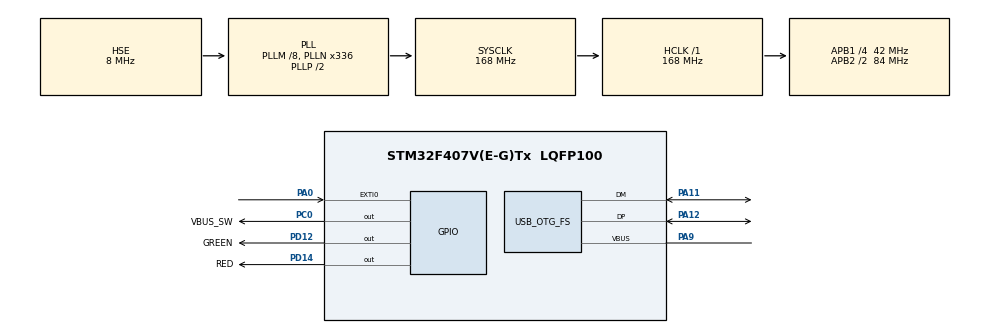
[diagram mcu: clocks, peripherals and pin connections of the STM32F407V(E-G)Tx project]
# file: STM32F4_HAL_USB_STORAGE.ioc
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FATFS._MAX_SS=512
FATFS._USE_LFN=0
Mcu.Family=STM32F4
Mcu.Name=STM32F407V(E-G)Tx
Mcu.Package=LQFP100
NVIC.EXTI0_IRQn=true\:0\:0\:false\:false\:true\:true
NVIC.OTG_FS_IRQn=true\:0\:0\:false\:false\:true\:true
NVIC.PriorityGroup=NVIC_PRIORITYGROUP_0
PA0-WKUP.Signal=GPXTI0
PA11.Mode=Host_Only
PA11.Signal=USB_OTG_FS_DM
PA12.Mode=Host_Only
PA12.Signal=USB_OTG_FS_DP
PA9.Mode=Activate_VBUS
PA9.Signal=USB_OTG_FS_VBUS
PC0.GPIO_Label=VBUS_SW
PC0.GPIO_ModeDefaultOutputPP=GPIO_MODE_OUTPUT_OD
PC0.GPIO_PuPd=GPIO_NOPULL
PC0.Signal=GPIO_Output
PD12.GPIO_Label=GREEN
PD12.Signal=GPIO_Output
PD14.GPIO_Label=RED
PD14.Signal=GPIO_Output
PH0-OSC_IN.Mode=HSE-External-Oscillator
PH0-OSC_IN.Signal=RCC_OSC_IN
PH1-OSC_OUT.Mode=HSE-External-Oscillator
PH1-OSC_OUT.Signal=RCC_OSC_OUT
ProjectManager.HeapSize=0x200
ProjectManager.StackSize=0x800
ProjectManager.TargetToolchain=TrueSTUDIO
RCC.48MHZClocksFreq_Value=48000000
RCC.AHBFreq_Value=168000000
RCC.APB1CLKDivider=RCC_HCLK_DIV4
RCC.APB1Freq_Value=42000000
RCC.APB1TimFreq_Value=84000000
RCC.APB2CLKDivider=RCC_HCLK_DIV2
RCC.APB2Freq_Value=84000000
RCC.APB2TimFreq_Value=168000000
RCC.CortexFreq_Value=168000000
RCC.HCLKFreq_Value=168000000
RCC.HSE_VALUE=8000000
RCC.HSI_VALUE=16000000
RCC.LSE_VALUE=32768
RCC.PLLM=8
RCC.PLLN=336
RCC.PLLQ=7
RCC.SYSCLKFreq_VALUE=168000000
RCC.SYSCLKSource=RCC_SYSCLKSOURCE_PLLCLK
RCC.VCOOutputFreq_Value=336000000
USB_HOST.USBH_HandleTypeDef-MSC_FS=hUsbHostFS
USB_HOST.VirtualModeFS=Msc
USB_OTG_FS.VirtualMode=Host_Only
USB_OTG_FS.phy_itface=HCD_PHY_EMBEDDED
VP_FATFS_VS_USB.Mode=USB
VP_USB_HOST_VS_USB_HOST_MSC_FS.Mode=MSC_FS
board=STM32F4DISCOVERY

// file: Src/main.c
/**
 ******************************************************************************
 * @file           : main.c
 * @brief          : Main program body
 ******************************************************************************
 * This notice applies to any and all portions of this file
 * that are not between comment pairs USER CODE BEGIN and
 * USER CODE END. Other portions of this file, whether
 * inserted by the user or by software development tools
 * are owned by their respective copyright owners.
 *
 * Copyright (c) 2019 STMicroelectronics International N.V.
 * All rights reserved.
 *
 * Redistribution and use in source and binary forms, with or without
 * modification, are permitted, provided that the following conditions are met:
 *
 * 1. Redistribution of source code must retain the above copyright notice,
 *    this list of conditions and the following disclaimer.
 * 2. Redistributions in binary form must reproduce the above copyright notice,
 *    this list of conditions and the following disclaimer in the documentation
 *    and/or other materials provided with the distribution.
 * 3. Neither the name of STMicroelectronics nor the names of other
 *    contributors to this software may be used to endorse or promote products
 *    derived from this software without specific written permission.
 * 4. This software, including modifications and/or derivative works of this
 *    software, must execute solely and exclusively on microcontroller or
 *    microprocessor devices manufactured by or for STMicroelectronics.
 * 5. Redistribution and use of this software other than as permitted under
 *    this license is void and will automatically terminate your rights under
 *    this license.
 *
 * THIS SOFTWARE IS PROVIDED BY STMICROELECTRONICS AND CONTRIBUTORS "AS IS"
 * AND ANY EXPRESS, IMPLIED OR STATUTORY WARRANTIES, INCLUDING, BUT NOT
 * LIMITED TO, THE IMPLIED WARRANTIES OF MERCHANTABILITY, FITNESS FOR A
 * PARTICULAR PURPOSE AND NON-INFRINGEMENT OF THIRD PARTY INTELLECTUAL PROPERTY
 * RIGHTS ARE DISCLAIMED TO THE FULLEST EXTENT PERMITTED BY LAW. IN NO EVENT
 * SHALL STMICROELECTRONICS OR CONTRIBUTORS BE LIABLE FOR ANY DIRECT, INDIRECT,
 * INCIDENTAL, SPECIAL, EXEMPLARY, OR CONSEQUENTIAL DAMAGES (INCLUDING, BUT NOT
 * LIMITED TO, PROCUREMENT OF SUBSTITUTE GOODS OR SERVICES; LOSS OF USE, DATA,
 * OR PROFITS; OR BUSINESS INTERRUPTION) HOWEVER CAUSED AND ON ANY THEORY OF
 * LIABILITY, WHETHER IN CONTRACT, STRICT LIABILITY, OR TORT (INCLUDING
 * NEGLIGENCE OR OTHERWISE) ARISING IN ANY WAY OUT OF THE USE OF THIS SOFTWARE,
 * EVEN IF ADVISED OF THE POSSIBILITY OF SUCH DAMAGE.
 *
 ******************************************************************************
 */
#include "main.h"
#include "stm32f4xx_hal.h"
#include "fatfs.h"
#include "usb_host.h"

/* USER CODE BEGIN PV */
/* Private variables ---------------------------------------------------------*/
extern char USBHPath[4];   /* USBH logical drive path */
extern FATFS USBHFatFS;    /* File system object for USBH logical drive */
extern FIL USBHFile;       /* File object for USBH */
extern ApplicationTypeDef Appli_state;

#define BUFF_LEN	256
uint8_t buttonFlag = 0;
uint8_t buffer[BUFF_LEN];
uint32_t bytesWritten, bytesRead;

/* USER CODE END PV */

void SystemClock_Config(void);
static void MX_GPIO_Init(void);
void MX_USB_HOST_Process(void);

/* USER CODE BEGIN PFP */
/* Private function prototypes -----------------------------------------------*/

/* USER CODE END PFP */

/* USER CODE BEGIN 0 */
void HAL_GPIO_EXTI_Callback(uint16_t GPIO_Pin)
{
	static uint32_t debounce = 0;
	static uint32_t now = 0;

	if(GPIO_Pin == GPIO_PIN_0)
	{
		now = HAL_GetTick();
		if(now - debounce < 200) return;

		debounce = HAL_GetTick();
		buttonFlag = 1;
	}
}

void MountUSB(void)
{
	FRESULT res = f_mount(&USBHFatFS, USBHPath, 0);
	if(res != FR_OK) Error_Handler();

	HAL_GPIO_WritePin(GPIOD, GPIO_PIN_12, GPIO_PIN_SET);
	HAL_GPIO_WritePin(GPIOD, GPIO_PIN_14, GPIO_PIN_RESET);
}

void UnMountUSB(void)
{
	FRESULT res = f_mount(NULL, "", 0);
	if(res != FR_OK) Error_Handler();

	HAL_GPIO_WritePin(GPIOD, GPIO_PIN_12, GPIO_PIN_RESET);
	HAL_GPIO_WritePin(GPIOD, GPIO_PIN_14, GPIO_PIN_SET);
}

void OpenFile()
{
	FRESULT res = f_open(&USBHFile, "hello.txt", FA_OPEN_ALWAYS | FA_READ | FA_WRITE);
	if(res != FR_OK) Error_Handler();
}

void CloseFile()
{
	FRESULT res = f_close(&USBHFile);
	if(res != FR_OK) Error_Handler();
}

uint32_t ReadFile(uint8_t *buff, uint16_t len)
{
	memset(buff, 0, len);
	FRESULT res = f_read(&USBHFile, buff, len, (void*)&bytesRead);
	if(res != FR_OK) Error_Handler();

	return bytesRead;
}

uint32_t WriteFile(uint8_t *buff, uint16_t len)
{
	FRESULT res;
	res = f_lseek(&USBHFile, f_size(&USBHFile));
	if(res != FR_OK) Error_Handler();

	res = f_write(&USBHFile, buff, len, (void*)&bytesWritten);
	if(res != FR_OK) Error_Handler();

	return bytesWritten;
}

void TruncateFile()
{
	FRESULT res;
	res = f_open(&USBHFile, "hello.txt", FA_OPEN_ALWAYS | FA_READ | FA_WRITE);
	if(res != FR_OK) Error_Handler();

	res = f_lseek(&USBHFile, 0);
	if(res != FR_OK) Error_Handler();

	res = f_truncate(&USBHFile);
	if(res != FR_OK) Error_Handler();

	res = f_close(&USBHFile);
	if(res != FR_OK) Error_Handler();
}

/* USER CODE END 0 */

int main(void)
{

	/* MCU Configuration----------------------------------------------------------*/

	/* Reset of all peripherals, Initializes the Flash interface and the Systick. */
	HAL_Init();

	/* Configure the system clock */
	SystemClock_Config();

	/* Initialize all configured peripherals */
	MX_GPIO_Init();
	MX_USB_HOST_Init();
	MX_FATFS_Init();

	/* Infinite loop */
	while (1)
	{
		MX_USB_HOST_Process();

		/* USER CODE BEGIN 3 */
		if(Appli_state == APPLICATION_READY && buttonFlag)
		{
			buttonFlag = 0;

			OpenFile();
			char *msg = "Hello! STM32 Mass Storage Testing...\r\n";
			uint32_t nWritten = WriteFile((uint8_t*)msg, strlen(msg));
			printf("%lu bytes written\r\n", nWritten);
			CloseFile();

			OpenFile();
			uint32_t nRead = ReadFile(buffer, BUFF_LEN);
			printf("%lu bytes read\r\n", nRead);
			CloseFile();

			printf("%s", buffer);
			fflush(stdout);

			if(nRead >=  BUFF_LEN)
			{
				TruncateFile();
			}
		}
	}
	/* USER CODE END 3 */

}

void SystemClock_Config(void)
{

	RCC_OscInitTypeDef RCC_OscInitStruct;
	RCC_ClkInitTypeDef RCC_ClkInitStruct;

	/**Configure the main internal regulator output voltage
	 */
	__HAL_RCC_PWR_CLK_ENABLE();

	__HAL_PWR_VOLTAGESCALING_CONFIG(PWR_REGULATOR_VOLTAGE_SCALE1);

	/**Initializes the CPU, AHB and APB busses clocks
	 */
	RCC_OscInitStruct.OscillatorType = RCC_OSCILLATORTYPE_HSE;
	RCC_OscInitStruct.HSEState = RCC_HSE_ON;
	RCC_OscInitStruct.PLL.PLLState = RCC_PLL_ON;
	RCC_OscInitStruct.PLL.PLLSource = RCC_PLLSOURCE_HSE;
	RCC_OscInitStruct.PLL.PLLM = 8;
	RCC_OscInitStruct.PLL.PLLN = 336;
	RCC_OscInitStruct.PLL.PLLP = RCC_PLLP_DIV2;
	RCC_OscInitStruct.PLL.PLLQ = 7;
	if (HAL_RCC_OscConfig(&RCC_OscInitStruct) != HAL_OK)
	{
		_Error_Handler(__FILE__, __LINE__);
	}

	/**Initializes the CPU, AHB and APB busses clocks
	 */
	RCC_ClkInitStruct.ClockType = RCC_CLOCKTYPE_HCLK|RCC_CLOCKTYPE_SYSCLK
			|RCC_CLOCKTYPE_PCLK1|RCC_CLOCKTYPE_PCLK2;
	RCC_ClkInitStruct.SYSCLKSource = RCC_SYSCLKSOURCE_PLLCLK;
	RCC_ClkInitStruct.AHBCLKDivider = RCC_SYSCLK_DIV1;
	RCC_ClkInitStruct.APB1CLKDivider = RCC_HCLK_DIV4;
	RCC_ClkInitStruct.APB2CLKDivider = RCC_HCLK_DIV2;

	if (HAL_RCC_ClockConfig(&RCC_ClkInitStruct, FLASH_LATENCY_5) != HAL_OK)
	{
		_Error_Handler(__FILE__, __LINE__);
	}

	/**Configure the Systick interrupt time
	 */
	HAL_SYSTICK_Config(HAL_RCC_GetHCLKFreq()/1000);

	/**Configure the Systick
	 */
	HAL_SYSTICK_CLKSourceConfig(SYSTICK_CLKSOURCE_HCLK);

	/* SysTick_IRQn interrupt configuration */
	HAL_NVIC_SetPriority(SysTick_IRQn, 0, 0);
}

/** Configure pins as
 * Analog
 * Input
 * Output
 * EVENT_OUT
 * EXTI
 */
static void MX_GPIO_Init(void)
{

	GPIO_InitTypeDef GPIO_InitStruct;

	/* GPIO Ports Clock Enable */
	__HAL_RCC_GPIOH_CLK_ENABLE();
	__HAL_RCC_GPIOC_CLK_ENABLE();
	__HAL_RCC_GPIOA_CLK_ENABLE();
	__HAL_RCC_GPIOD_CLK_ENABLE();

	/*Configure GPIO pin Output Level */
	HAL_GPIO_WritePin(VBUS_SW_GPIO_Port, VBUS_SW_Pin, GPIO_PIN_RESET);

	/*Configure GPIO pin Output Level */
	HAL_GPIO_WritePin(GPIOD, GPIO_PIN_12|GPIO_PIN_14, GPIO_PIN_RESET);

	/*Configure GPIO pin : VBUS_SW_Pin */
	GPIO_InitStruct.Pin = VBUS_SW_Pin;
	GPIO_InitStruct.Mode = GPIO_MODE_OUTPUT_OD;
	GPIO_InitStruct.Pull = GPIO_NOPULL;
	GPIO_InitStruct.Speed = GPIO_SPEED_FREQ_LOW;
	HAL_GPIO_Init(VBUS_SW_GPIO_Port, &GPIO_InitStruct);

	/*Configure GPIO pin : PA0 */
	GPIO_InitStruct.Pin = GPIO_PIN_0;
	GPIO_InitStruct.Mode = GPIO_MODE_IT_RISING;
	GPIO_InitStruct.Pull = GPIO_NOPULL;
	HAL_GPIO_Init(GPIOA, &GPIO_InitStruct);

	/*Configure GPIO pins : PD12 PD14 */
	GPIO_InitStruct.Pin = GPIO_PIN_12|GPIO_PIN_14;
	GPIO_InitStruct.Mode = GPIO_MODE_OUTPUT_PP;
	GPIO_InitStruct.Pull = GPIO_NOPULL;
	GPIO_InitStruct.Speed = GPIO_SPEED_FREQ_LOW;
	HAL_GPIO_Init(GPIOD, &GPIO_InitStruct);

	/* EXTI interrupt init*/
	HAL_NVIC_SetPriority(EXTI0_IRQn, 0, 0);
	HAL_NVIC_EnableIRQ(EXTI0_IRQn);

}

void _Error_Handler(char *file, int line)
{
	while(1)
	{
	}
}

/************************ (C) COPYRIGHT STMicroelectronics *****END OF FILE****/
